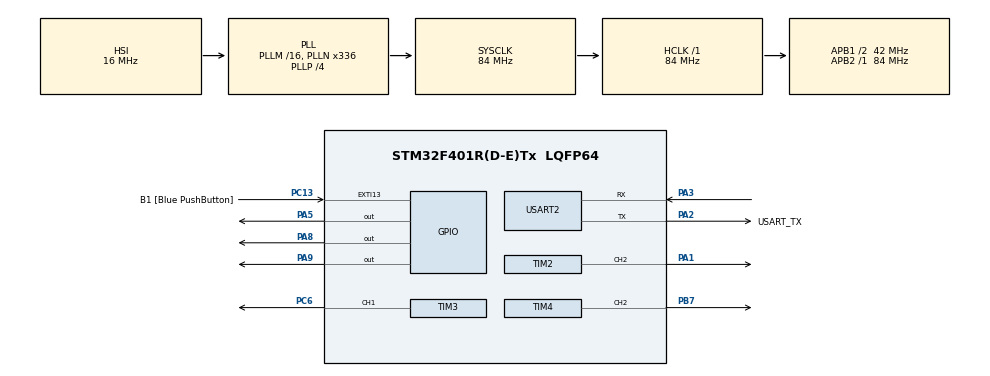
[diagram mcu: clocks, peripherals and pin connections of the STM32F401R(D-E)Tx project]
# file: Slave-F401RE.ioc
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Mcu.Family=STM32F4
Mcu.Name=STM32F401R(D-E)Tx
Mcu.Package=LQFP64
NVIC.PriorityGroup=NVIC_PRIORITYGROUP_0
PA1.Signal=S_TIM2_CH2
PA14.GPIO_Label=TCK
PA14.Signal=SYS_JTCK-SWCLK
PA2.GPIO_Label=USART_TX
PA2.GPIO_Mode=GPIO_MODE_AF_PP
PA2.GPIO_PuPd=GPIO_NOPULL
PA2.GPIO_Speed=GPIO_SPEED_FREQ_LOW
PA2.Mode=Asynchronous
PA2.Signal=USART2_TX
PA3.Mode=Asynchronous
PA3.Signal=USART2_RX
PA5.Signal=GPIO_Output
PA8.Signal=GPIO_Output
PA9.Signal=GPIO_Output
PB3.GPIO_Label=SWO
PB3.Signal=SYS_JTDO-SWO
PB7.Signal=S_TIM4_CH2
PC13-ANTI_TAMP.GPIO_Label=B1 [Blue PushButton]
PC13-ANTI_TAMP.GPIO_ModeDefaultEXTI=GPIO_MODE_IT_FALLING
PC13-ANTI_TAMP.GPIO_PuPd=GPIO_NOPULL
PC13-ANTI_TAMP.Signal=GPXTI13
PC14-OSC32_IN.Signal=RCC_OSC32_IN
PC15-OSC32_OUT.Signal=RCC_OSC32_OUT
PC6.Signal=S_TIM3_CH1
PH0\ -\ OSC_IN.Signal=RCC_OSC_IN
PH1\ -\ OSC_OUT.Signal=RCC_OSC_OUT
ProjectManager.HeapSize=0x200
ProjectManager.StackSize=0x400
ProjectManager.TargetToolchain=STM32CubeIDE
RCC.AHBFreq_Value=84000000
RCC.APB1CLKDivider=RCC_HCLK_DIV2
RCC.APB1Freq_Value=42000000
RCC.APB1TimFreq_Value=84000000
RCC.APB2Freq_Value=84000000
RCC.APB2TimFreq_Value=84000000
RCC.CortexFreq_Value=84000000
RCC.HCLKFreq_Value=84000000
RCC.HSE_VALUE=8000000
RCC.HSI_VALUE=16000000
RCC.LSE_VALUE=32768
RCC.PLLN=336
RCC.PLLP=RCC_PLLP_DIV4
RCC.PLLQ=7
RCC.SYSCLKFreq_VALUE=84000000
RCC.SYSCLKSource=RCC_SYSCLKSOURCE_PLLCLK
RCC.VCOOutputFreq_Value=336000000
SH.S_TIM2_CH2.0=TIM2_CH2,PWM Generation2 CH2
SH.S_TIM3_CH1.0=TIM3_CH1,PWM Generation1 CH1
SH.S_TIM4_CH2.0=TIM4_CH2,PWM Generation2 CH2
TIM2.Channel-PWM\ Generation2\ CH2=TIM_CHANNEL_2
TIM3.Channel-PWM\ Generation1\ CH1=TIM_CHANNEL_1
TIM4.Channel-PWM\ Generation2\ CH2=TIM_CHANNEL_2
USART2.VirtualMode=VM_ASYNC
board=NUCLEO-F401RE

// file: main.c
/* USER CODE BEGIN Header */
/**
  ******************************************************************************
  * @file           : main.c
  * @brief          : Main program body
  ******************************************************************************
  * @attention
  *
  * Copyright (c) 2025 STMicroelectronics.
  * All rights reserved.
  *
  * This software is licensed under terms that can be found in the LICENSE file
  * in the root directory of this software component.
  * If no LICENSE file comes with this software, it is provided AS-IS.
  *
  ******************************************************************************
  */
/* USER CODE END Header */
#include "main.h"

TIM_HandleTypeDef htim2;
TIM_HandleTypeDef htim3;
TIM_HandleTypeDef htim4;

UART_HandleTypeDef huart2;

void SystemClock_Config(void);
static void MX_GPIO_Init(void);
static void MX_TIM3_Init(void);
static void MX_TIM4_Init(void);
static void MX_TIM2_Init(void);
static void MX_USART2_UART_Init(void);

/* USER CODE BEGIN 0 */
uint8_t rxData[2];

void SetDutyCycle(uint8_t input){
	uint32_t duty_cycle = (input * (99 + 1)) / 100;
	__HAL_TIM_SET_COMPARE(&htim3, TIM_CHANNEL_2, duty_cycle);
	__HAL_TIM_SET_COMPARE(&htim4, TIM_CHANNEL_1, duty_cycle);
}

void Celebrate(uint8_t motorSpeed)
{
    // Set both motors to the same speed
    SetDutyCycle(motorSpeed);

    // Spin in place: one forward, one reverse
    HAL_GPIO_WritePin(GPIOA, GPIO_PIN_8, GPIO_PIN_RESET); // M2DIR: reverse
    HAL_GPIO_WritePin(GPIOA, GPIO_PIN_9, GPIO_PIN_SET);   // M1DIR: forward

    HAL_Delay(6000); // spin for 6 seconds

    // Stop motors after celebration
    SetDutyCycle(0);
}

void ProcessCommand(void)
{
    // Receive 2 bytes via UART (adjust timeout as needed)
    // Note: Make sure to use the correct UART handle (here using huart2)
    if (HAL_UART_Receive(&huart2, rxData, 2, 100) == HAL_OK)
    {
        // Combine two 8-bit values into one 16-bit command word.
        uint16_t commandWord = ((uint16_t)rxData[0] << 8) | rxData[1];

        // Parse the fields:
        // Bits 15-14 for mode, bits 13-7 for motor speed, bits 6-0 for kick speed.
        uint8_t mode       = (commandWord >> 14) & 0x03;
        uint8_t motorSpeed = (commandWord >> 7)  & 0x7F;
        uint8_t kickFlag = (commandWord >> 6) & 0x01;  // 1-bit flag at bit 6
        motorSpeed = 100;
        uint16_t testdirection = commandWord;

        // test packet

        // Clamp the speeds to a maximum of 100.
        if(motorSpeed > 100)
        {
            motorSpeed = 100;
        }
1`

        // Process the command based on the mode.
        switch(testdirection) // change back to mode after testing
        {
            case 0: // 00: Left
                // For a left turn, you may choose to have one motor set to go slower or even reverse.
                // Here, we set both motors to the received speed,
                // then set one of the motor directions differently.
                SetDutyCycle(motorSpeed);  // sets the PWM duty cycle on TIM3 and TIM4
                // Example: left motor reverse, right motor forward.
                HAL_GPIO_WritePin(GPIOA, GPIO_PIN_8, GPIO_PIN_RESET); // M2DIR: set for reverse
                HAL_GPIO_WritePin(GPIOA, GPIO_PIN_9, GPIO_PIN_SET);     // M1DIR: set for forward
                break;

            case 1: // 01: Right
                SetDutyCycle(motorSpeed);
                // Example: left motor forward, right motor reverse.
                HAL_GPIO_WritePin(GPIOA, GPIO_PIN_8, GPIO_PIN_SET);     // M2DIR: forward
                HAL_GPIO_WritePin(GPIOA, GPIO_PIN_9, GPIO_PIN_RESET);   // M1DIR: reverse
                break;

            case 2: // 10: Forward
                SetDutyCycle(motorSpeed);
                // Both motors forward.
                HAL_GPIO_WritePin(GPIOA, GPIO_PIN_8, GPIO_PIN_SET);     // M2DIR: forward
                HAL_GPIO_WritePin(GPIOA, GPIO_PIN_9, GPIO_PIN_SET);     // M1DIR: forward
                break;

            case 3: // 11: Celebrate
                // Celebrate might involve stopping the motors and playing a buzzer sound.
                // Here we set motor PWM to 0 (or stop motors) and use TIM2 PWM for the buzzer.
                Celebrate(motorSpeed); // Stop motor movement.
                // Use the kickSpeed value to modulate the buzzer PWM duty cycle.
                // You can adjust the scaling if necessary.

                //use a motor Celebrate helper function

                // Optionally add further visual effects (e.g., blinking an LED) here.
                break;

            default:
                // If an undefined mode is received, you may choose to set a safe state.
                SetDutyCycle(0);
                break;
        }
        //we have the motorSpeed part working with the direction

        //However we need to add drivers to set the kickFlag below
        //KickFlag is a binary value

      }

}

/* USER CODE END 0 */

int main(void)
{

  /* MCU Configuration--------------------------------------------------------*/

  /* Reset of all peripherals, Initializes the Flash interface and the Systick. */
  HAL_Init();

  /* Configure the system clock */
  SystemClock_Config();

  /* Initialize all configured peripherals */
  MX_GPIO_Init();
  MX_TIM3_Init();
  MX_TIM4_Init();
  MX_TIM2_Init();
  MX_USART2_UART_Init();
  /* USER CODE BEGIN 2 */

  HAL_TIM_PWM_Start(&htim3, TIM_CHANNEL_2);
  HAL_TIM_PWM_Start(&htim4, TIM_CHANNEL_1);
  HAL_TIM_PWM_Start(&htim2, TIM_CHANNEL_2);
    /* USER CODE BEGIN 2 */

  HAL_GPIO_WritePin(GPIOA, GPIO_PIN_8, GPIO_PIN_SET); // M2DIR
  HAL_GPIO_WritePin(GPIOA, GPIO_PIN_9, GPIO_PIN_SET); // M1DIR

  __HAL_TIM_SET_COMPARE(&htim3, TIM_CHANNEL_2, 50);
  __HAL_TIM_SET_COMPARE(&htim4, TIM_CHANNEL_1, 50);
  /* USER CODE END 2 */

  /* Infinite loop */
    while (1)
      {
    	 ProcessCommand();
      }
}

void SystemClock_Config(void)
{
  RCC_OscInitTypeDef RCC_OscInitStruct = {0};
  RCC_ClkInitTypeDef RCC_ClkInitStruct = {0};

  /** Configure the main internal regulator output voltage
  */
  __HAL_RCC_PWR_CLK_ENABLE();
  __HAL_PWR_VOLTAGESCALING_CONFIG(PWR_REGULATOR_VOLTAGE_SCALE1);

  /** Initializes the RCC Oscillators according to the specified parameters
  * in the RCC_OscInitTypeDef structure.
  */
  RCC_OscInitStruct.OscillatorType = RCC_OSCILLATORTYPE_HSI;
  RCC_OscInitStruct.HSIState = RCC_HSI_ON;
  RCC_OscInitStruct.HSICalibrationValue = RCC_HSICALIBRATION_DEFAULT;
  RCC_OscInitStruct.PLL.PLLState = RCC_PLL_ON;
  RCC_OscInitStruct.PLL.PLLSource = RCC_PLLSOURCE_HSI;
  RCC_OscInitStruct.PLL.PLLM = 16;
  RCC_OscInitStruct.PLL.PLLN = 336;
  RCC_OscInitStruct.PLL.PLLP = RCC_PLLP_DIV4;
  RCC_OscInitStruct.PLL.PLLQ = 4;
  if (HAL_RCC_OscConfig(&RCC_OscInitStruct) != HAL_OK)
  {
    Error_Handler();
  }

  /** Initializes the CPU, AHB and APB buses clocks
  */
  RCC_ClkInitStruct.ClockType = RCC_CLOCKTYPE_HCLK|RCC_CLOCKTYPE_SYSCLK
                              |RCC_CLOCKTYPE_PCLK1|RCC_CLOCKTYPE_PCLK2;
  RCC_ClkInitStruct.SYSCLKSource = RCC_SYSCLKSOURCE_PLLCLK;
  RCC_ClkInitStruct.AHBCLKDivider = RCC_SYSCLK_DIV1;
  RCC_ClkInitStruct.APB1CLKDivider = RCC_HCLK_DIV2;
  RCC_ClkInitStruct.APB2CLKDivider = RCC_HCLK_DIV1;

  if (HAL_RCC_ClockConfig(&RCC_ClkInitStruct, FLASH_LATENCY_2) != HAL_OK)
  {
    Error_Handler();
  }
}

static void MX_TIM2_Init(void)
{

  TIM_MasterConfigTypeDef sMasterConfig = {0};
  TIM_OC_InitTypeDef sConfigOC = {0};

  htim2.Instance = TIM2;
  htim2.Init.Prescaler = 0;
  htim2.Init.CounterMode = TIM_COUNTERMODE_UP;
  htim2.Init.Period = 4294967295;
  htim2.Init.ClockDivision = TIM_CLOCKDIVISION_DIV1;
  htim2.Init.AutoReloadPreload = TIM_AUTORELOAD_PRELOAD_DISABLE;
  if (HAL_TIM_PWM_Init(&htim2) != HAL_OK)
  {
    Error_Handler();
  }
  sMasterConfig.MasterOutputTrigger = TIM_TRGO_RESET;
  sMasterConfig.MasterSlaveMode = TIM_MASTERSLAVEMODE_DISABLE;
  if (HAL_TIMEx_MasterConfigSynchronization(&htim2, &sMasterConfig) != HAL_OK)
  {
    Error_Handler();
  }
  sConfigOC.OCMode = TIM_OCMODE_PWM1;
  sConfigOC.Pulse = 0;
  sConfigOC.OCPolarity = TIM_OCPOLARITY_HIGH;
  sConfigOC.OCFastMode = TIM_OCFAST_DISABLE;
  if (HAL_TIM_PWM_ConfigChannel(&htim2, &sConfigOC, TIM_CHANNEL_2) != HAL_OK)
  {
    Error_Handler();
  }
  HAL_TIM_MspPostInit(&htim2);

}

static void MX_TIM3_Init(void)
{

  TIM_ClockConfigTypeDef sClockSourceConfig = {0};
  TIM_MasterConfigTypeDef sMasterConfig = {0};
  TIM_OC_InitTypeDef sConfigOC = {0};

  htim3.Instance = TIM3;
  htim3.Init.Prescaler = 39;
  htim3.Init.CounterMode = TIM_COUNTERMODE_UP;
  htim3.Init.Period = 99;
  htim3.Init.ClockDivision = TIM_CLOCKDIVISION_DIV1;
  htim3.Init.AutoReloadPreload = TIM_AUTORELOAD_PRELOAD_DISABLE;
  if (HAL_TIM_Base_Init(&htim3) != HAL_OK)
  {
    Error_Handler();
  }
  sClockSourceConfig.ClockSource = TIM_CLOCKSOURCE_INTERNAL;
  if (HAL_TIM_ConfigClockSource(&htim3, &sClockSourceConfig) != HAL_OK)
  {
    Error_Handler();
  }
  if (HAL_TIM_PWM_Init(&htim3) != HAL_OK)
  {
    Error_Handler();
  }
  sMasterConfig.MasterOutputTrigger = TIM_TRGO_RESET;
  sMasterConfig.MasterSlaveMode = TIM_MASTERSLAVEMODE_DISABLE;
  if (HAL_TIMEx_MasterConfigSynchronization(&htim3, &sMasterConfig) != HAL_OK)
  {
    Error_Handler();
  }
  sConfigOC.OCMode = TIM_OCMODE_PWM1;
  sConfigOC.Pulse = 0;
  sConfigOC.OCPolarity = TIM_OCPOLARITY_HIGH;
  sConfigOC.OCFastMode = TIM_OCFAST_DISABLE;
  if (HAL_TIM_PWM_ConfigChannel(&htim3, &sConfigOC, TIM_CHANNEL_2) != HAL_OK)
  {
    Error_Handler();
  }
  HAL_TIM_MspPostInit(&htim3);

}

static void MX_TIM4_Init(void)
{

  TIM_ClockConfigTypeDef sClockSourceConfig = {0};
  TIM_MasterConfigTypeDef sMasterConfig = {0};
  TIM_OC_InitTypeDef sConfigOC = {0};

  htim4.Instance = TIM4;
  htim4.Init.Prescaler = 39;
  htim4.Init.CounterMode = TIM_COUNTERMODE_UP;
  htim4.Init.Period = 99;
  htim4.Init.ClockDivision = TIM_CLOCKDIVISION_DIV1;
  htim4.Init.AutoReloadPreload = TIM_AUTORELOAD_PRELOAD_DISABLE;
  if (HAL_TIM_Base_Init(&htim4) != HAL_OK)
  {
    Error_Handler();
  }
  sClockSourceConfig.ClockSource = TIM_CLOCKSOURCE_INTERNAL;
  if (HAL_TIM_ConfigClockSource(&htim4, &sClockSourceConfig) != HAL_OK)
  {
    Error_Handler();
  }
  if (HAL_TIM_PWM_Init(&htim4) != HAL_OK)
  {
    Error_Handler();
  }
  sMasterConfig.MasterOutputTrigger = TIM_TRGO_RESET;
  sMasterConfig.MasterSlaveMode = TIM_MASTERSLAVEMODE_DISABLE;
  if (HAL_TIMEx_MasterConfigSynchronization(&htim4, &sMasterConfig) != HAL_OK)
  {
    Error_Handler();
  }
  sConfigOC.OCMode = TIM_OCMODE_PWM1;
  sConfigOC.Pulse = 0;
  sConfigOC.OCPolarity = TIM_OCPOLARITY_HIGH;
  sConfigOC.OCFastMode = TIM_OCFAST_DISABLE;
  if (HAL_TIM_PWM_ConfigChannel(&htim4, &sConfigOC, TIM_CHANNEL_1) != HAL_OK)
  {
    Error_Handler();
  }
  HAL_TIM_MspPostInit(&htim4);

}

static void MX_USART2_UART_Init(void)
{

  huart2.Instance = USART2;
  huart2.Init.BaudRate = 115200;
  huart2.Init.WordLength = UART_WORDLENGTH_8B;
  huart2.Init.StopBits = UART_STOPBITS_1;
  huart2.Init.Parity = UART_PARITY_NONE;
  huart2.Init.Mode = UART_MODE_TX_RX;
  huart2.Init.HwFlowCtl = UART_HWCONTROL_NONE;
  huart2.Init.OverSampling = UART_OVERSAMPLING_16;
  if (HAL_UART_Init(&huart2) != HAL_OK)
  {
    Error_Handler();
  }

}

static void MX_GPIO_Init(void)
{
  GPIO_InitTypeDef GPIO_InitStruct = {0};

  /* GPIO Ports Clock Enable */
  __HAL_RCC_GPIOC_CLK_ENABLE();
  __HAL_RCC_GPIOH_CLK_ENABLE();
  __HAL_RCC_GPIOA_CLK_ENABLE();
  __HAL_RCC_GPIOB_CLK_ENABLE();

  /*Configure GPIO pin Output Level */
  HAL_GPIO_WritePin(GPIOA, GPIO_PIN_8|GPIO_PIN_9, GPIO_PIN_RESET);

  /*Configure GPIO pin : B1_Pin */
  GPIO_InitStruct.Pin = B1_Pin;
  GPIO_InitStruct.Mode = GPIO_MODE_IT_FALLING;
  GPIO_InitStruct.Pull = GPIO_NOPULL;
  HAL_GPIO_Init(B1_GPIO_Port, &GPIO_InitStruct);

  /*Configure GPIO pins : PA8 PA9 */
  GPIO_InitStruct.Pin = GPIO_PIN_8|GPIO_PIN_9;
  GPIO_InitStruct.Mode = GPIO_MODE_OUTPUT_PP;
  GPIO_InitStruct.Pull = GPIO_NOPULL;
  GPIO_InitStruct.Speed = GPIO_SPEED_FREQ_LOW;
  HAL_GPIO_Init(GPIOA, &GPIO_InitStruct);

}

void Error_Handler(void)
{
  __disable_irq();
  while (1)
  {
  }
}
